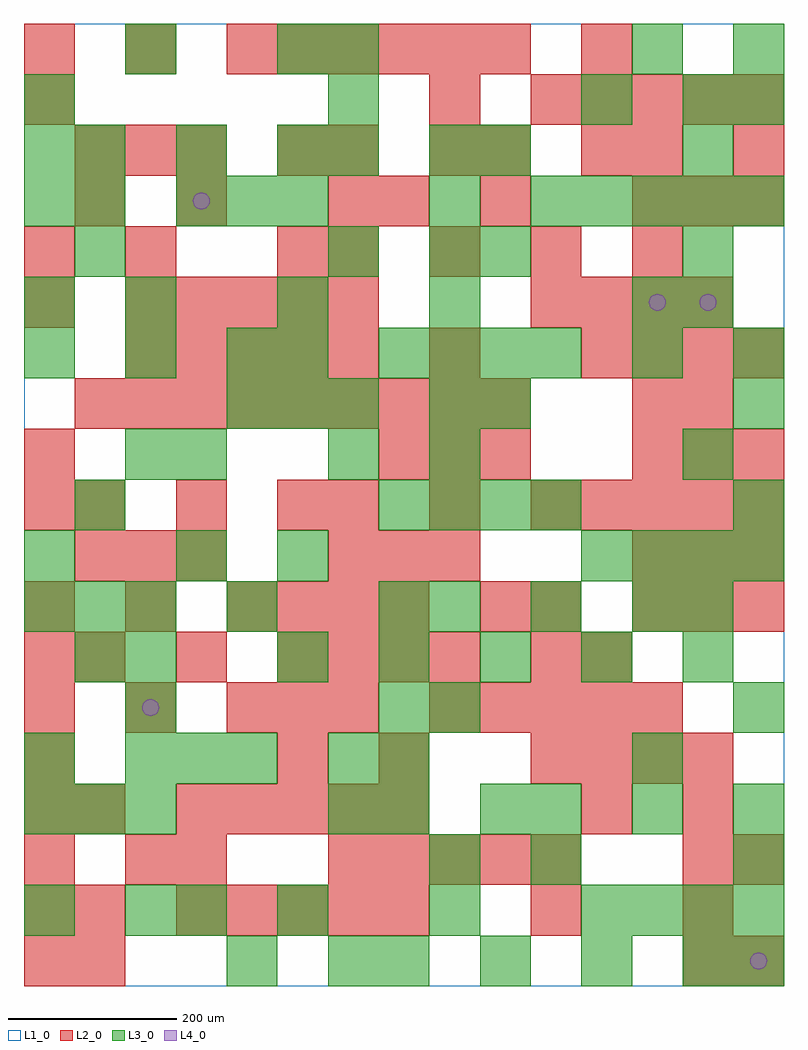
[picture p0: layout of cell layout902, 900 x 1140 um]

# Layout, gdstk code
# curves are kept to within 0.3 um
import gdstk
lib = gdstk.Library(unit=1e-6, precision=1e-09)
def R(c, l, rs):  # rectangles x0, y0, x1, y1
    for r in rs: c.add(gdstk.rectangle(r[:2], r[2:], *l))
def A(c, l, x, y, w, h, nx, ny, dx, dy):  # array of equal rectangles
    R(c, l, [(x+i*dx, y+j*dy, x+i*dx+w, y+j*dy+h) for i in range(nx) for j in range(ny)])
def P(c, l, *ps):  # polygons
    for p in ps: c.add(gdstk.Polygon(p, *l))
L1_0 = (1, 0)
L2_0 = (2, 0)
L3_0 = (3, 0)
L4_0 = (4, 0)

layout902 = lib.new_cell('layout902')
R(layout902, L1_0, [(0,0,900,1140)])
A(layout902, L2_0, 0, 0, 60, 60, 1, 5, 0, 60)
A(layout902, L2_0, 780, 0, 60, 60, 1, 4, 0, 60)
A(layout902, L2_0, 180, 60, 60, 60, 5, 2, 60, 120)
A(layout902, L2_0, 360, 120, 60, 60, 5, 1, 60, 0)
A(layout902, L2_0, 600, 240, 60, 60, 4, 2, 60, 540)
A(layout902, L2_0, 0, 300, 60, 60, 3, 2, 120, 120)
A(layout902, L2_0, 480, 300, 60, 60, 5, 1, 60, 0)
A(layout902, L2_0, 60, 360, 60, 60, 3, 2, 120, 180)
A(layout902, L2_0, 360, 360, 60, 60, 3, 2, 60, 120)
A(layout902, L2_0, 300, 420, 60, 60, 3, 1, 60, 0)
A(layout902, L2_0, 720, 420, 60, 60, 3, 2, 60, 60)
A(layout902, L2_0, 60, 480, 60, 60, 3, 2, 60, 480)
A(layout902, L2_0, 360, 540, 60, 60, 3, 1, 120, 0)
A(layout902, L2_0, 660, 540, 60, 60, 4, 2, 60, 180)
A(layout902, L2_0, 420, 600, 60, 60, 3, 1, 60, 0)
A(layout902, L2_0, 720, 600, 60, 60, 3, 2, 60, 300)
A(layout902, L2_0, 60, 660, 60, 60, 9, 1, 60, 0)
A(layout902, L2_0, 120, 720, 60, 60, 5, 2, 60, 60)
A(layout902, L2_0, 360, 840, 60, 60, 4, 1, 120, 0)
A(layout902, L2_0, 600, 1020, 60, 60, 5, 1, 60, 0)
A(layout902, L2_0, 0, 1080, 60, 60, 3, 1, 120, 0)
A(layout902, L2_0, 300, 1080, 60, 60, 5, 1, 60, 0)
R(layout902, L2_0, [(60,0,120,60), (840,0,900,60), (60,60,120,120), (600,60,660,120), (120,120,180,180), (180,120,240,180), (840,120,900,180), (60,180,120,240), (660,180,720,240), (300,240,360,300), (420,240,480,300), (300,300,360,360), (360,300,420,360), (0,360,60,420), (600,360,660,420), (660,360,720,420), (540,420,600,480), (600,420,660,480), (0,540,60,600), (0,600,60,660), (720,660,780,720), (780,660,840,720), (480,720,540,780), (0,780,60,840), (0,840,60,900), (120,840,180,900), (300,840,360,900), (60,900,120,960), (180,900,240,960), (360,900,420,960), (420,900,480,960), (540,900,600,960), (300,960,360,1020), (360,960,420,1020), (480,960,540,1020), (540,960,600,1020), (660,960,720,1020), (720,960,780,1020), (840,960,900,1020), (0,1020,60,1080), (480,1020,540,1080), (660,1080,720,1140)])
A(layout902, L3_0, 420, 0, 60, 60, 4, 1, 120, 0)
A(layout902, L3_0, 300, 60, 60, 60, 3, 1, 180, 0)
A(layout902, L3_0, 720, 60, 60, 60, 3, 1, 60, 0)
A(layout902, L3_0, 0, 180, 60, 60, 3, 2, 60, 240)
A(layout902, L3_0, 420, 180, 60, 60, 1, 3, 0, 60)
A(layout902, L3_0, 600, 180, 60, 60, 3, 1, 120, 0)
A(layout902, L3_0, 120, 240, 60, 60, 3, 1, 60, 0)
A(layout902, L3_0, 300, 360, 60, 60, 5, 1, 120, 0)
A(layout902, L3_0, 480, 420, 60, 60, 3, 1, 120, 0)
A(layout902, L3_0, 780, 420, 60, 60, 1, 3, 0, 180)
A(layout902, L3_0, 660, 480, 60, 60, 4, 1, 60, 0)
A(layout902, L3_0, 420, 540, 60, 60, 4, 2, 60, 180)
A(layout902, L3_0, 240, 660, 60, 60, 3, 1, 60, 0)
A(layout902, L3_0, 0, 720, 60, 60, 3, 1, 120, 0)
A(layout902, L3_0, 120, 780, 60, 60, 3, 1, 180, 0)
A(layout902, L3_0, 480, 840, 60, 60, 1, 3, 0, 60)
A(layout902, L3_0, 0, 900, 60, 60, 1, 3, 0, 60)
A(layout902, L3_0, 180, 900, 60, 60, 3, 1, 60, 0)
A(layout902, L3_0, 600, 900, 60, 60, 5, 1, 60, 0)
A(layout902, L3_0, 60, 960, 60, 60, 3, 1, 120, 0)
A(layout902, L3_0, 360, 960, 60, 60, 1, 3, 0, 60)
R(layout902, L3_0, [(240,0,300,60), (360,0,420,60), (840,0,900,60), (0,60,60,120), (120,60,180,120), (180,60,240,120), (480,120,540,180), (600,120,660,180), (840,120,900,180), (360,180,420,240), (540,180,600,240), (0,240,60,300), (360,240,420,300), (720,240,780,300), (120,300,180,360), (480,300,540,360), (840,300,900,360), (60,360,120,420), (120,360,180,420), (240,420,300,480), (420,420,480,480), (0,480,60,540), (180,480,240,540), (300,480,360,540), (60,540,120,600), (840,540,900,600), (120,600,180,660), (180,600,240,660), (360,600,420,660), (480,600,540,660), (480,660,540,720), (540,660,600,720), (840,660,900,720), (300,720,360,780), (720,720,780,780), (840,720,900,780), (0,780,60,840), (720,780,780,840), (60,840,120,900), (360,840,420,900), (540,840,600,900), (780,840,840,900), (60,900,120,960), (540,960,600,1020), (780,960,840,1020), (660,1020,720,1080), (780,1020,840,1080), (840,1020,900,1080), (120,1080,180,1140), (300,1080,360,1140), (720,1080,780,1140), (840,1080,900,1140)])
P(layout902, L4_0, [(160,330),(159.239,333.827),(157.071,337.071),(153.827,339.239),(150,340),(146.173,339.239),(142.929,337.071),(140.761,333.827),(140,330),(140.761,326.173),(142.929,322.929),(146.173,320.761),(150,320),(153.827,320.761),(157.071,322.929),(159.239,326.173)],
  [(220,930),(219.239,933.827),(217.071,937.071),(213.827,939.239),(210,940),(206.173,939.239),(202.929,937.071),(200.761,933.827),(200,930),(200.761,926.173),(202.929,922.929),(206.173,920.761),(210,920),(213.827,920.761),(217.071,922.929),(219.239,926.173)],
  [(760,810),(759.239,813.827),(757.071,817.071),(753.827,819.239),(750,820),(746.173,819.239),(742.929,817.071),(740.761,813.827),(740,810),(740.761,806.173),(742.929,802.929),(746.173,800.761),(750,800),(753.827,800.761),(757.071,802.929),(759.239,806.173)],
  [(820,810),(819.239,813.827),(817.071,817.071),(813.827,819.239),(810,820),(806.173,819.239),(802.929,817.071),(800.761,813.827),(800,810),(800.761,806.173),(802.929,802.929),(806.173,800.761),(810,800),(813.827,800.761),(817.071,802.929),(819.239,806.173)],
  [(880,30),(879.239,33.827),(877.071,37.071),(873.827,39.239),(870,40),(866.173,39.239),(862.929,37.071),(860.761,33.827),(860,30),(860.761,26.173),(862.929,22.929),(866.173,20.761),(870,20),(873.827,20.761),(877.071,22.929),(879.239,26.173)])

lib.write_gds('layout902.gds')
